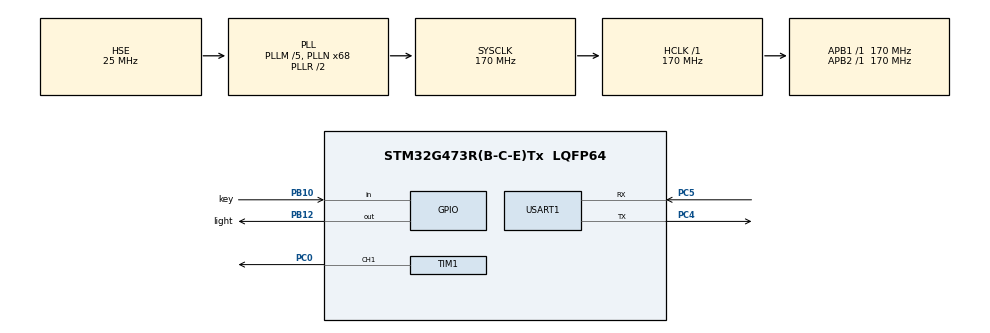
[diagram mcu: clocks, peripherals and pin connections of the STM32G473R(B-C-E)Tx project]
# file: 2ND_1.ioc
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Dma.Request0=USART1_RX
Dma.USART1_RX.0.Direction=DMA_PERIPH_TO_MEMORY
Dma.USART1_RX.0.EventEnable=DISABLE
Dma.USART1_RX.0.Instance=DMA1_Channel1
Dma.USART1_RX.0.MemDataAlignment=DMA_MDATAALIGN_BYTE
Dma.USART1_RX.0.MemInc=DMA_MINC_ENABLE
Dma.USART1_RX.0.Mode=DMA_CIRCULAR
Dma.USART1_RX.0.PeriphDataAlignment=DMA_PDATAALIGN_BYTE
Dma.USART1_RX.0.PeriphInc=DMA_PINC_DISABLE
Dma.USART1_RX.0.Polarity=HAL_DMAMUX_REQ_GEN_RISING
Dma.USART1_RX.0.Priority=DMA_PRIORITY_LOW
Dma.USART1_RX.0.RequestNumber=1
Dma.USART1_RX.0.SignalID=NONE
Dma.USART1_RX.0.SyncEnable=DISABLE
Dma.USART1_RX.0.SyncPolarity=HAL_DMAMUX_SYNC_NO_EVENT
Dma.USART1_RX.0.SyncRequestNumber=1
Dma.USART1_RX.0.SyncSignalID=NONE
Mcu.Family=STM32G4
Mcu.Name=STM32G473R(B-C-E)Tx
Mcu.Package=LQFP64
NVIC.DMA1_Channel1_IRQn=true\:0\:0\:false\:false\:true\:false\:true\:true
NVIC.PriorityGroup=NVIC_PRIORITYGROUP_4
NVIC.TIM1_BRK_TIM15_IRQn=true\:0\:0\:false\:false\:true\:true\:true\:true
NVIC.TIM1_CC_IRQn=true\:0\:0\:false\:false\:true\:true\:true\:true
NVIC.TIM1_TRG_COM_TIM17_IRQn=true\:0\:0\:false\:false\:true\:true\:true\:true
NVIC.TIM1_UP_TIM16_IRQn=true\:0\:0\:false\:false\:true\:true\:true\:true
NVIC.TIM4_IRQn=true\:0\:0\:false\:false\:true\:true\:true\:true
NVIC.USART1_IRQn=true\:0\:0\:false\:false\:true\:true\:true\:true
PA13.Mode=Serial_Wire
PA13.Signal=SYS_JTMS-SWDIO
PA14.Mode=Serial_Wire
PA14.Signal=SYS_JTCK-SWCLK
PB10.GPIO_Label=key
PB10.GPIO_PuPd=GPIO_PULLUP
PB10.Signal=GPIO_Input
PB12.GPIO_Label=light
PB12.PinState=GPIO_PIN_SET
PB12.Signal=GPIO_Output
PC0.Signal=S_TIM1_CH1
PC4.Mode=Asynchronous
PC4.Signal=USART1_TX
PC5.Mode=Asynchronous
PC5.Signal=USART1_RX
PF0-OSC_IN.Mode=HSE-External-Oscillator
PF0-OSC_IN.Signal=RCC_OSC_IN
PF1-OSC_OUT.Mode=HSE-External-Oscillator
PF1-OSC_OUT.Signal=RCC_OSC_OUT
ProjectManager.HeapSize=0x200
ProjectManager.StackSize=0x400
ProjectManager.TargetToolchain=CMake
RCC.ADC12Freq_Value=170000000
RCC.ADC345Freq_Value=170000000
RCC.AHBFreq_Value=170000000
RCC.APB1Freq_Value=170000000
RCC.APB1TimFreq_Value=170000000
RCC.APB2Freq_Value=170000000
RCC.APB2TimFreq_Value=170000000
RCC.CortexFreq_Value=170000000
RCC.EXTERNAL_CLOCK_VALUE=12288000
RCC.HCLKFreq_Value=170000000
RCC.HSE_VALUE=25000000
RCC.HSI48_VALUE=48000000
RCC.HSI_VALUE=16000000
RCC.LSE_VALUE=32768
RCC.PLLM=RCC_PLLM_DIV5
RCC.PLLN=68
RCC.PLLSourceVirtual=RCC_PLLSOURCE_HSE
RCC.SYSCLKFreq_VALUE=170000000
RCC.SYSCLKSource=RCC_SYSCLKSOURCE_PLLCLK
RCC.USBFreq_Value=170000000
RCC.VCOOutputFreq_Value=340000000
SH.S_TIM1_CH1.0=TIM1_CH1,PWM Generation1 CH1
TIM1.Channel-PWM\ Generation1\ CH1=TIM_CHANNEL_1
TIM1.Prescaler=169
TIM4.PeriodNoDither=999
TIM4.Prescaler=169
USART1.VirtualMode-Asynchronous=VM_ASYNC
VP_SYS_VS_DBSignals.Mode=DisableDeadBatterySignals
VP_TIM4_VS_ClockSourceINT.Mode=Internal
board=custom

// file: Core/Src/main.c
/* USER CODE BEGIN Header */
/**
  ******************************************************************************
  * @file           : main.c
  * @brief          : Main program body
  ******************************************************************************
  * @attention
  *
  * Copyright (c) 2026 STMicroelectronics.
  * All rights reserved.
  *
  * This software is licensed under terms that can be found in the LICENSE file
  * in the root directory of this software component.
  * If no LICENSE file comes with this software, it is provided AS-IS.
  *
  ******************************************************************************
  */
/* USER CODE END Header */
#include "main.h"
#include "dma.h"
#include "tim.h"
#include "usart.h"
#include "gpio.h"

/* USER CODE BEGIN Includes */
#include "tim.h"
#include "usart.h"
#include "gpio.h"
#include "bsp_uart.h"
#include "drv_uart.h"
#include "bsp_tim.h"
#include "task_control.h"

#include "bsp_led.h"
#include "bsp_servo.h"
/* USER CODE END Includes */

void SystemClock_Config(void);

int main(void)
{

  /* MCU Configuration--------------------------------------------------------*/

  /* Reset of all peripherals, Initializes the Flash interface and the Systick. */
  HAL_Init();

  /* Configure the system clock */
  SystemClock_Config();

  /* Initialize all configured peripherals */
  MX_GPIO_Init();
  MX_DMA_Init();
  MX_TIM1_Init();
  MX_TIM4_Init();
  MX_USART1_UART_Init();
  /* USER CODE BEGIN 2 */
  Bsp_Uart_Init();
  Bsp_Tim_Init();
  Task_Control_Init();
  /* USER CODE END 2 */

  /* Infinite loop */
  while (1)
  {

    /* USER CODE BEGIN 3 */

    /* USER CODE BEGIN WHILE */

    /* USER CODE END WHILE */
      /* USER CODE END WHILE */
    }

  /* USER CODE END 3 */
}

void SystemClock_Config(void)
{
  RCC_OscInitTypeDef RCC_OscInitStruct = {0};
  RCC_ClkInitTypeDef RCC_ClkInitStruct = {0};

  /** Configure the main internal regulator output voltage
  */
  HAL_PWREx_ControlVoltageScaling(PWR_REGULATOR_VOLTAGE_SCALE1_BOOST);

  /** Initializes the RCC Oscillators according to the specified parameters
  * in the RCC_OscInitTypeDef structure.
  */
  RCC_OscInitStruct.OscillatorType = RCC_OSCILLATORTYPE_HSE;
  RCC_OscInitStruct.HSEState = RCC_HSE_ON;
  RCC_OscInitStruct.PLL.PLLState = RCC_PLL_ON;
  RCC_OscInitStruct.PLL.PLLSource = RCC_PLLSOURCE_HSE;
  RCC_OscInitStruct.PLL.PLLM = RCC_PLLM_DIV5;
  RCC_OscInitStruct.PLL.PLLN = 68;
  RCC_OscInitStruct.PLL.PLLP = RCC_PLLP_DIV2;
  RCC_OscInitStruct.PLL.PLLQ = RCC_PLLQ_DIV2;
  RCC_OscInitStruct.PLL.PLLR = RCC_PLLR_DIV2;
  if (HAL_RCC_OscConfig(&RCC_OscInitStruct) != HAL_OK)
  {
    Error_Handler();
  }

  /** Initializes the CPU, AHB and APB buses clocks
  */
  RCC_ClkInitStruct.ClockType = RCC_CLOCKTYPE_HCLK|RCC_CLOCKTYPE_SYSCLK
                              |RCC_CLOCKTYPE_PCLK1|RCC_CLOCKTYPE_PCLK2;
  RCC_ClkInitStruct.SYSCLKSource = RCC_SYSCLKSOURCE_PLLCLK;
  RCC_ClkInitStruct.AHBCLKDivider = RCC_SYSCLK_DIV1;
  RCC_ClkInitStruct.APB1CLKDivider = RCC_HCLK_DIV1;
  RCC_ClkInitStruct.APB2CLKDivider = RCC_HCLK_DIV1;

  if (HAL_RCC_ClockConfig(&RCC_ClkInitStruct, FLASH_LATENCY_4) != HAL_OK)
  {
    Error_Handler();
  }
}

/* USER CODE BEGIN 4 */
  void HAL_TIM_PeriodElapsedCallback(TIM_HandleTypeDef *htim)
  {
    if (htim == &htim4)
    {
      Task_Control_Loop();
    }
  }

  void HAL_UARTEx_RxEventCallback(UART_HandleTypeDef *huart, uint16_t Size)
  {
    if (huart->Instance == USART1)
    {
      Drv_Uart_Parse(Size);
    }
  }
/* USER CODE END 4 */

void Error_Handler(void)
{
    __disable_irq();
    while (1)
    {
    }
}
